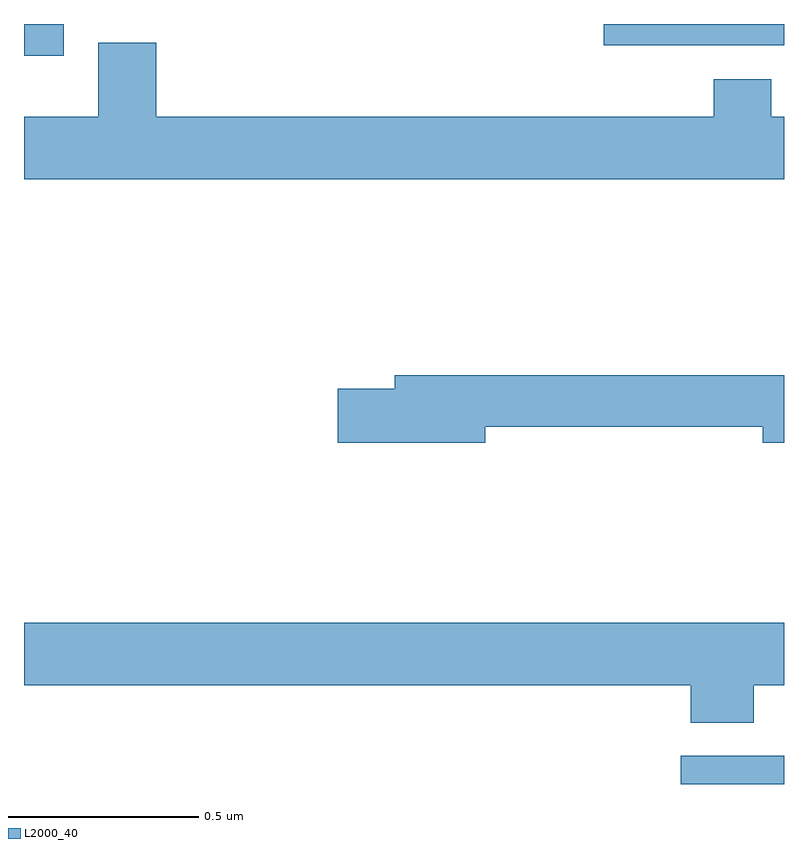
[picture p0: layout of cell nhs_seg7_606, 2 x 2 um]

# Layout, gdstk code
import gdstk
lib = gdstk.Library(unit=1e-6, precision=1e-09)
def R(c, l, rs):  # rectangles x0, y0, x1, y1
    for r in rs: c.add(gdstk.rectangle(r[:2], r[2:], *l))
def P(c, l, *ps):  # polygons
    for p in ps: c.add(gdstk.Polygon(p, *l))
L2000_40 = (2000, 40)

nhs_seg7_606 = lib.new_cell('nhs_seg7_606')
R(nhs_seg7_606, L2000_40, [(120.728,1023,121,1023.074), (119,1024.916,119.104,1025), (120.525,1024.944,121,1025)])
P(nhs_seg7_606, L2000_40, [(121,1024.756),(120.967,1024.756),(120.967,1024.855),(120.815,1024.855),(120.815,1024.756),(119.348,1024.756),(119.348,1024.951),(119.195,1024.951),(119.195,1024.756),(119,1024.756),(119,1024.592),(121,1024.592)],
  [(120.214,1023.94),(120.944,1023.94),(120.944,1023.898),(121,1023.898),(121,1024.076),(119.975,1024.076),(119.975,1024.04),(119.826,1024.04),(119.826,1023.898),(120.214,1023.898)],
  [(120.92,1023.26),(121,1023.26),(121,1023.424),(119,1023.424),(119,1023.26),(120.755,1023.26),(120.755,1023.161),(120.92,1023.161)])

lib.write_gds('nhs_seg7_606.gds')
